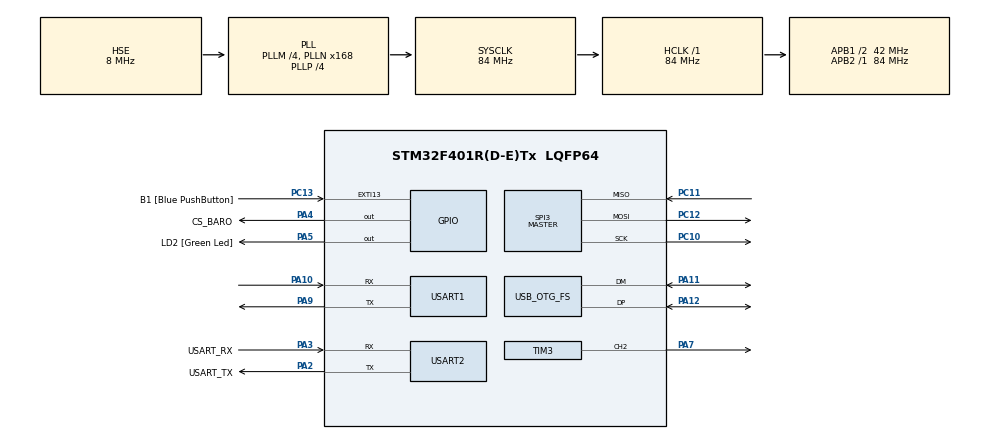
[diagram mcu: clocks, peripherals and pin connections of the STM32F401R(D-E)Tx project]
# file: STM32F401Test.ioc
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Dma.Request0=USART2_RX
Dma.Request1=USART1_RX
Dma.USART1_RX.1.Direction=DMA_PERIPH_TO_MEMORY
Dma.USART1_RX.1.FIFOMode=DMA_FIFOMODE_DISABLE
Dma.USART1_RX.1.Instance=DMA2_Stream2
Dma.USART1_RX.1.MemDataAlignment=DMA_MDATAALIGN_BYTE
Dma.USART1_RX.1.MemInc=DMA_MINC_ENABLE
Dma.USART1_RX.1.Mode=DMA_NORMAL
Dma.USART1_RX.1.PeriphDataAlignment=DMA_PDATAALIGN_BYTE
Dma.USART1_RX.1.PeriphInc=DMA_PINC_DISABLE
Dma.USART1_RX.1.Priority=DMA_PRIORITY_LOW
Dma.USART2_RX.0.Direction=DMA_PERIPH_TO_MEMORY
Dma.USART2_RX.0.FIFOMode=DMA_FIFOMODE_DISABLE
Dma.USART2_RX.0.Instance=DMA1_Stream5
Dma.USART2_RX.0.MemDataAlignment=DMA_MDATAALIGN_BYTE
Dma.USART2_RX.0.MemInc=DMA_MINC_ENABLE
Dma.USART2_RX.0.Mode=DMA_NORMAL
Dma.USART2_RX.0.PeriphDataAlignment=DMA_PDATAALIGN_BYTE
Dma.USART2_RX.0.PeriphInc=DMA_PINC_DISABLE
Dma.USART2_RX.0.Priority=DMA_PRIORITY_LOW
Mcu.Family=STM32F4
Mcu.Name=STM32F401R(D-E)Tx
Mcu.Package=LQFP64
NVIC.DMA1_Stream5_IRQn=true\:0\:0\:false\:false\:true\:false\:true\:true
NVIC.DMA2_Stream2_IRQn=true\:0\:0\:false\:false\:true\:false\:true\:true
NVIC.EXTI15_10_IRQn=true\:0\:0\:false\:false\:true\:true\:true\:true
NVIC.OTG_FS_IRQn=true\:0\:0\:false\:false\:true\:true\:true\:true
NVIC.PriorityGroup=NVIC_PRIORITYGROUP_0
NVIC.SPI3_IRQn=true\:0\:0\:false\:false\:true\:true\:true\:true
NVIC.TIM2_IRQn=true\:0\:0\:false\:false\:true\:true\:true\:true
NVIC.TIM3_IRQn=true\:0\:0\:false\:false\:true\:true\:true\:true
NVIC.TIM4_IRQn=true\:0\:0\:false\:false\:true\:true\:true\:true
NVIC.USART1_IRQn=true\:0\:0\:false\:false\:true\:true\:true\:true
NVIC.USART2_IRQn=true\:0\:0\:false\:false\:true\:true\:true\:true
PA0-WKUP.Mode=SYS_WakeUp0
PA0-WKUP.Signal=SYS_WKUP
PA10.Mode=Asynchronous
PA10.Signal=USART1_RX
PA11.Mode=Device_Only
PA11.Signal=USB_OTG_FS_DM
PA12.Mode=Device_Only
PA12.Signal=USB_OTG_FS_DP
PA13.GPIO_Label=TMS
PA13.Mode=Serial_Wire
PA13.Signal=SYS_JTMS-SWDIO
PA14.GPIO_Label=TCK
PA14.Mode=Serial_Wire
PA14.Signal=SYS_JTCK-SWCLK
PA2.GPIO_Label=USART_TX
PA2.GPIO_Mode=GPIO_MODE_AF_PP
PA2.GPIO_PuPd=GPIO_NOPULL
PA2.GPIO_Speed=GPIO_SPEED_FREQ_LOW
PA2.Mode=Asynchronous
PA2.Signal=USART2_TX
PA3.GPIO_Label=USART_RX
PA3.GPIO_Mode=GPIO_MODE_AF_PP
PA3.GPIO_PuPd=GPIO_NOPULL
PA3.GPIO_Speed=GPIO_SPEED_FREQ_LOW
PA3.Mode=Asynchronous
PA3.Signal=USART2_RX
PA4.GPIO_Label=CS_BARO
PA4.PinState=GPIO_PIN_SET
PA4.Signal=GPIO_Output
PA5.GPIO_Label=LD2 [Green Led]
PA5.GPIO_Mode=GPIO_MODE_OUTPUT_PP
PA5.GPIO_PuPd=GPIO_NOPULL
PA5.GPIO_Speed=GPIO_SPEED_FREQ_LOW
PA5.Signal=GPIO_Output
PA7.Signal=S_TIM3_CH2
PA9.Mode=Asynchronous
PA9.Signal=USART1_TX
PB3.GPIO_Label=SWO
PB3.Signal=SYS_JTDO-SWO
PC10.Mode=Full_Duplex_Master
PC10.Signal=SPI3_SCK
PC11.Mode=Full_Duplex_Master
PC11.Signal=SPI3_MISO
PC12.Mode=Full_Duplex_Master
PC12.Signal=SPI3_MOSI
PC13-ANTI_TAMP.GPIO_Label=B1 [Blue PushButton]
PC13-ANTI_TAMP.GPIO_ModeDefaultEXTI=GPIO_MODE_IT_RISING_FALLING
PC13-ANTI_TAMP.GPIO_PuPd=GPIO_NOPULL
PC13-ANTI_TAMP.Signal=GPXTI13
PC14-OSC32_IN.Mode=LSE-External-Oscillator
PC14-OSC32_IN.Signal=RCC_OSC32_IN
PC15-OSC32_OUT.Mode=LSE-External-Oscillator
PC15-OSC32_OUT.Signal=RCC_OSC32_OUT
PH0\ -\ OSC_IN.Mode=HSE-External-Clock-Source
PH0\ -\ OSC_IN.Signal=RCC_OSC_IN
PH1\ -\ OSC_OUT.Mode=HSE-External-Clock-Source
PH1\ -\ OSC_OUT.Signal=RCC_OSC_OUT
ProjectManager.HeapSize=0x200
ProjectManager.StackSize=0x400
ProjectManager.TargetToolchain=Makefile
RCC.48MHZClocksFreq_Value=48000000
RCC.AHBFreq_Value=84000000
RCC.APB1CLKDivider=RCC_HCLK_DIV2
RCC.APB1Freq_Value=42000000
RCC.APB1TimFreq_Value=84000000
RCC.APB2Freq_Value=84000000
RCC.APB2TimFreq_Value=84000000
RCC.CortexFreq_Value=84000000
RCC.HCLKFreq_Value=84000000
RCC.HSE_VALUE=8000000
RCC.HSI_VALUE=16000000
RCC.PLLM=4
RCC.PLLN=168
RCC.PLLP=RCC_PLLP_DIV4
RCC.PLLQ=7
RCC.SYSCLKFreq_VALUE=84000000
RCC.SYSCLKSource=RCC_SYSCLKSOURCE_PLLCLK
RCC.VCOOutputFreq_Value=336000000
SH.S_TIM3_CH2.0=TIM3_CH2,Output Compare2 CH2
SPI3.BaudRatePrescaler=SPI_BAUDRATEPRESCALER_8
SPI3.Direction=SPI_DIRECTION_2LINES
SPI3.Mode=SPI_MODE_MASTER
SPI3.VirtualType=VM_MASTER
TIM2.Channel-PWM\ Generation1\ No\ Output=TIM_CHANNEL_1
TIM2.Period=1000
TIM2.Prescaler=8400-1
TIM3.Channel-Output\ Compare2\ CH2=TIM_CHANNEL_2
TIM3.OCMode_2=TIM_OCMODE_TOGGLE
TIM3.Period=1000
TIM3.Prescaler=84-1
TIM4.Period=4540
TIM4.Prescaler=84-1
USART1.VirtualMode=VM_ASYNC
USART2.VirtualMode=VM_ASYNC
USB_DEVICE.CLASS_NAME_FS=CDC
USB_DEVICE.VirtualMode-CDC_FS=Cdc
USB_DEVICE.VirtualModeFS=Cdc_FS
USB_OTG_FS.VirtualMode=Device_Only
VP_TIM2_VS_ClockSourceINT.Mode=Internal
VP_TIM2_VS_no_output1.Mode=PWM Generation1 No Output
VP_TIM3_VS_ClockSourceINT.Mode=Internal
VP_TIM4_VS_ClockSourceINT.Mode=Internal
VP_TIM4_VS_OPM.Mode=OPM_bit
VP_USB_DEVICE_VS_USB_DEVICE_CDC_FS.Mode=CDC_FS
board=NUCLEO-F401RE

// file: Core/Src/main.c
/* USER CODE BEGIN Header */
/**
 ******************************************************************************
 * @file           : main.c
 * @brief          : Main program body
 ******************************************************************************
 * @attention
 *
 * Copyright (c) 2023 STMicroelectronics.
 * All rights reserved.
 *
 * This software is licensed under terms that can be found in the LICENSE file
 * in the root directory of this software component.
 * If no LICENSE file comes with this software, it is provided AS-IS.
 *
 ******************************************************************************
 */
/* USER CODE END Header */
#include "main.h"
#include "dma.h"
#include "spi.h"
#include "tim.h"
#include "usart.h"
#include "usb_device.h"
#include "gpio.h"

/* USER CODE BEGIN Includes */
#include "usbd_cdc_if.h"
#include "ringbuffer.h"
#include "Utils.h"
#include "stdbool.h"
#include "Sample.h"

/* USER CODE END Includes */

/* USER CODE BEGIN PTD */
uint8_t UARTRXBUFFER[64];
uint8_t UARTRXBUFFER_SIZE = 64;

ParaBeep_t ParaBeep;

/* USER CODE END PTD */

void SystemClock_Config(void);

int main(void)
{

  /* MCU Configuration--------------------------------------------------------*/

  /* Reset of all peripherals, Initializes the Flash interface and the Systick. */
  HAL_Init();

  /* Configure the system clock */
  SystemClock_Config();

  /* Initialize all configured peripherals */
  MX_GPIO_Init();
  MX_DMA_Init();
  MX_TIM3_Init();
  MX_USART2_UART_Init();
  MX_TIM2_Init();
  MX_USB_DEVICE_Init();
  MX_SPI3_Init();
  MX_USART1_UART_Init();
  MX_TIM4_Init();
  /* USER CODE BEGIN 2 */

  ParaBeep_Init(&ParaBeep);

  HAL_Delay(10);

  char *message = "Hello World!\r\n";
  HAL_UART_Transmit(&huart2, (uint8_t *)message, strlen(message), 100);

  HAL_TIM_Base_Init(&htim3);

  buzzerMuteToggle(&ParaBeep.buzzer);

  uint32_t LastTick = HAL_GetTick();
  uint32_t thisTick;
  int dt;

  /* USER CODE END 2 */

  /* Infinite loop */
  /* USER CODE BEGIN WHILE */

  while (1)
  {
    ParaBeep.Tick = HAL_GetTick();
    // USART_RX_RINGPUFFER_PUT((uint8_t *)message, strlen(message));
    SendUART2RingBuffer();
    // SendUART1RingBuffer();
    SendUSBRingBuffer();

    MS5803_Tick(&ParaBeep);
    ButtonTick(&ParaBeep);

    // buzzerBeep(&ParaBeep.buzzer, 2700, 2000);
    // HAL_Delay(5000);

    if (ParaBeep.MS5803.SampleReady)
    {
      ParaBeep.MS5803.SampleReady = false;
      ParaBeep.MS5803.takeNewSample = true;
      thisTick = ParaBeep.Tick;
      dt = thisTick - LastTick;
      LastTick = thisTick;
      ParaBeep.altitude = ParaBeep.altitude * 0.95 + ParaBeep.sample.sampleFeet * 0.05;
      // printf("dt: %.2i alt: %7.2f \r\n", dt , ParaBeep.altitude);
      printf("alt: %7.3f \r\n", ParaBeep.altitude);
    }

    /* USER CODE END WHILE */

  }
}

void SystemClock_Config(void)
{
  RCC_OscInitTypeDef RCC_OscInitStruct = {0};
  RCC_ClkInitTypeDef RCC_ClkInitStruct = {0};

  /** Configure the main internal regulator output voltage
   */
  __HAL_RCC_PWR_CLK_ENABLE();
  __HAL_PWR_VOLTAGESCALING_CONFIG(PWR_REGULATOR_VOLTAGE_SCALE2);

  /** Initializes the RCC Oscillators according to the specified parameters
   * in the RCC_OscInitTypeDef structure.
   */
  RCC_OscInitStruct.OscillatorType = RCC_OSCILLATORTYPE_HSE;
  RCC_OscInitStruct.HSEState = RCC_HSE_BYPASS;
  RCC_OscInitStruct.PLL.PLLState = RCC_PLL_ON;
  RCC_OscInitStruct.PLL.PLLSource = RCC_PLLSOURCE_HSE;
  RCC_OscInitStruct.PLL.PLLM = 4;
  RCC_OscInitStruct.PLL.PLLN = 168;
  RCC_OscInitStruct.PLL.PLLP = RCC_PLLP_DIV4;
  RCC_OscInitStruct.PLL.PLLQ = 7;
  if (HAL_RCC_OscConfig(&RCC_OscInitStruct) != HAL_OK)
  {
    Error_Handler();
  }

  /** Initializes the CPU, AHB and APB buses clocks
   */
  RCC_ClkInitStruct.ClockType = RCC_CLOCKTYPE_HCLK | RCC_CLOCKTYPE_SYSCLK | RCC_CLOCKTYPE_PCLK1 | RCC_CLOCKTYPE_PCLK2;
  RCC_ClkInitStruct.SYSCLKSource = RCC_SYSCLKSOURCE_PLLCLK;
  RCC_ClkInitStruct.AHBCLKDivider = RCC_SYSCLK_DIV1;
  RCC_ClkInitStruct.APB1CLKDivider = RCC_HCLK_DIV2;
  RCC_ClkInitStruct.APB2CLKDivider = RCC_HCLK_DIV1;

  if (HAL_RCC_ClockConfig(&RCC_ClkInitStruct, FLASH_LATENCY_2) != HAL_OK)
  {
    Error_Handler();
  }
}

/* USER CODE BEGIN 4 */

void HAL_TIM_PWM_PulseFinishedCallback(TIM_HandleTypeDef *htim)
{
  if (htim->Instance == TIM2)
  {
    HAL_TIM_OC_Stop_IT(&htim3, TIM_CHANNEL_2);
  }
}

void HAL_TIM_PeriodElapsedCallback(TIM_HandleTypeDef *htim)
{
  if (htim->Instance == TIM2)
  {
    if (ParaBeep.buzzer.oneShot)
    {
      buzzerStop(&ParaBeep.buzzer);
      ParaBeep.buzzer.oneShot = false;

    }
    else
    {
      HAL_TIM_OC_Start_IT(&htim3, TIM_CHANNEL_2);
    }

  }

  if (htim->Instance == TIM4)
  {
    ParaBeep.MS5803.ADC_CONVERTING_FINISHED = true;
  }
}

void HAL_SPI_RxCpltCallback(SPI_HandleTypeDef *hspi)
{
  if (hspi->Instance == SPI3)
  {
    MS5803_DisableSlaveRXCplt(&ParaBeep.MS5803);
  }
}

void HAL_SPI_TxCpltCallback(SPI_HandleTypeDef *hspi)
{
  if (hspi->Instance == SPI3)
  {
    MS5803_DisableSlaveTXCplt();
  }
}

void HAL_SPI_TxRxCpltCallback(SPI_HandleTypeDef *hspi)
{
  if (hspi->Instance == SPI3)
  {
    /* code */
  }
}

// External Interrupt ISR Handler CallBackFun
void HAL_GPIO_EXTI_Callback(uint16_t GPIO_Pin)
{
  if (GPIO_Pin == B1_Pin)
  {
    if (GPIOC->IDR & GPIO_Pin)
    {
      /* Falling edge, button going up */
      ParaBeep.button.depressed = false;
      ParaBeep.button.pressNumber++;
      ParaBeep.button.lastRelease = HAL_GetTick();
    }
    else
    {
      /* Rising edge, button going down */
      ParaBeep.button.depressed = true;
      ParaBeep.button.pressStart = HAL_GetTick();
    }
  }
}

/* USER CODE END 4 */

void Error_Handler(void)
{
  __disable_irq();
  while (1)
  {
  }
}
